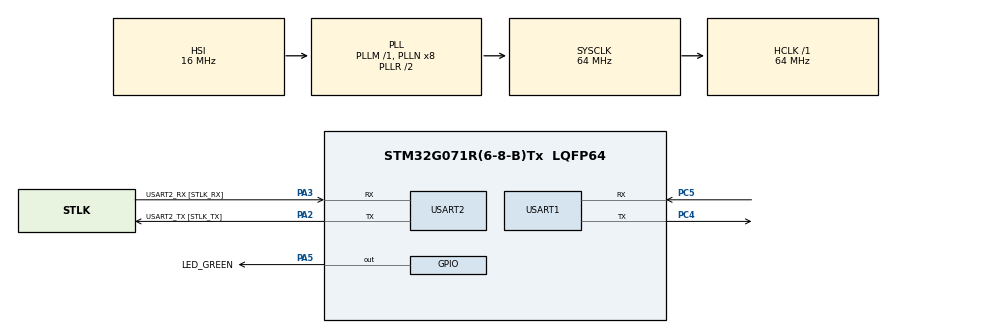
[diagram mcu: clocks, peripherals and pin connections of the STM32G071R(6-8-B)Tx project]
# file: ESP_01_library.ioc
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Mcu.Family=STM32G0
Mcu.Name=STM32G071R(6-8-B)Tx
Mcu.Package=LQFP64
NVIC.USART1_IRQn=true\:0\:0\:false\:false\:true\:true\:true
PA13.GPIO_Label=TMS
PA13.Mode=Serial_Wire
PA13.Signal=SYS_SWDIO
PA14-BOOT0.GPIO_Label=TCK
PA14-BOOT0.Mode=Serial_Wire
PA14-BOOT0.Signal=SYS_SWCLK
PA2.GPIO_Label=USART2_TX [STLK_TX]
PA2.GPIO_PuPd=GPIO_PULLUP
PA2.Mode=Asynchronous
PA2.Signal=USART2_TX
PA3.GPIO_Label=USART2_RX [STLK_RX]
PA3.GPIO_PuPd=GPIO_PULLUP
PA3.Mode=Asynchronous
PA3.Signal=USART2_RX
PA5.GPIO_Label=LED_GREEN
PA5.GPIO_Speed=GPIO_SPEED_FREQ_HIGH
PA5.Signal=GPIO_Output
PC13.Mode=SYS_WakeUp1
PC13.Signal=SYS_WKUP2
PC14-OSC32_IN\ (PC14).Mode=LSE-External-Oscillator
PC14-OSC32_IN\ (PC14).Signal=RCC_OSC32_IN
PC15-OSC32_OUT\ (PC15).Mode=LSE-External-Oscillator
PC15-OSC32_OUT\ (PC15).Signal=RCC_OSC32_OUT
PC4.Mode=Asynchronous
PC4.Signal=USART1_TX
PC5.Mode=Asynchronous
PC5.Signal=USART1_RX
PF0-OSC_IN\ (PF0).GPIO_Label=MCO
PF0-OSC_IN\ (PF0).Mode=HSE-External-Clock-Source
PF0-OSC_IN\ (PF0).Signal=RCC_OSC_IN
ProjectManager.HeapSize=0x200
ProjectManager.StackSize=0x400
ProjectManager.TargetToolchain=STM32CubeIDE
RCC.ADCFreq_Value=64000000
RCC.AHBFreq_Value=64000000
RCC.CortexFreq_Value=64000000
RCC.EXTERNAL_CLOCK_VALUE=12288000
RCC.HCLKFreq_Value=64000000
RCC.HSE_VALUE=8000000
RCC.HSI_VALUE=16000000
RCC.SYSCLKFreq_VALUE=64000000
RCC.SYSCLKSource=RCC_SYSCLKSOURCE_PLLCLK
RCC.VCOOutputFreq_Value=128000000
USART1.VirtualMode-Asynchronous=VM_ASYNC
USART2.VirtualMode-Asynchronous=VM_ASYNC
VP_SYS_VS_DBSignals.Mode=DisableDeadBatterySignals
board=NUCLEO-G071RB

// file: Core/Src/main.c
/* USER CODE BEGIN Header */
/**
  ******************************************************************************
  * @file           : main.c
  * @brief          : Main program body
  ******************************************************************************
  * @attention
  *
  * <h2><center>&copy; Copyright (c) 2023 STMicroelectronics.
  * All rights reserved.</center></h2>
  *
  * This software component is licensed by ST under BSD 3-Clause license,
  * the "License"; You may not use this file except in compliance with the
  * License. You may obtain a copy of the License at:
  *                        opensource.org/licenses/BSD-3-Clause
  *
  ******************************************************************************
  */
/* USER CODE END Header */
#include "main.h"

/* USER CODE BEGIN Includes */
#include "ESP_01.h"
/* USER CODE END Includes */

UART_HandleTypeDef huart1;
UART_HandleTypeDef huart2;

/* USER CODE BEGIN PV */
char buff[100]="\0";
uint8_t Rx;
extern TypedefFlag Flag;
/* USER CODE END PV */

void SystemClock_Config(void);
static void MX_GPIO_Init(void);
static void MX_USART2_UART_Init(void);
static void MX_USART1_UART_Init(void);

int main(void)
{

  /* MCU Configuration--------------------------------------------------------*/

  /* Reset of all peripherals, Initializes the Flash interface and the Systick. */
  HAL_Init();

  /* Configure the system clock */
  SystemClock_Config();

  /* Initialize all configured peripherals */
  MX_GPIO_Init();
  MX_USART2_UART_Init();
  MX_USART1_UART_Init();
  /* USER CODE BEGIN 2 */
  HAL_UART_Receive_IT(&huart1,&Rx,1);
  FUNC_ESP_RESET(Reset);

  //Transmit("AT+CWJAP=", huart)
  /* USER CODE END 2 */

  /* Infinite loop */
  /* USER CODE BEGIN WHILE */
  while (1)
  {
	  if(Flag.INIT)
	  {   HAL_Delay(1000);
		  FUNC_WIFI_CONECTAR("ClaroB550","santodomingo0901!");
		  if(!Flag.Server_conect)
		  {
			 FUNC_MQTT_CONECTAR_SERVIDOR("broker.mqttdashboard.com","Jose");
		  }
		  if(Flag.Server_conect)
		  {
			  FUNC_MQTT_SUBSCRIBIR("ESP-01");
			  Flag.INIT=0;
		  }
	  }

	  if(Flag.Server_conect)
	  {
		  FUNC_MQTT_PUBLICAR("KLK","Esp-01");
		  HAL_Delay(1000);

	  }
    /* USER CODE END WHILE */

  }
}

void SystemClock_Config(void)
{
  RCC_OscInitTypeDef RCC_OscInitStruct = {0};
  RCC_ClkInitTypeDef RCC_ClkInitStruct = {0};
  RCC_PeriphCLKInitTypeDef PeriphClkInit = {0};

  /** Configure the main internal regulator output voltage
  */
  HAL_PWREx_ControlVoltageScaling(PWR_REGULATOR_VOLTAGE_SCALE1);
  /** Initializes the RCC Oscillators according to the specified parameters
  * in the RCC_OscInitTypeDef structure.
  */
  RCC_OscInitStruct.OscillatorType = RCC_OSCILLATORTYPE_HSI;
  RCC_OscInitStruct.HSIState = RCC_HSI_ON;
  RCC_OscInitStruct.HSIDiv = RCC_HSI_DIV1;
  RCC_OscInitStruct.HSICalibrationValue = RCC_HSICALIBRATION_DEFAULT;
  RCC_OscInitStruct.PLL.PLLState = RCC_PLL_ON;
  RCC_OscInitStruct.PLL.PLLSource = RCC_PLLSOURCE_HSI;
  RCC_OscInitStruct.PLL.PLLM = RCC_PLLM_DIV1;
  RCC_OscInitStruct.PLL.PLLN = 8;
  RCC_OscInitStruct.PLL.PLLP = RCC_PLLP_DIV2;
  RCC_OscInitStruct.PLL.PLLQ = RCC_PLLQ_DIV2;
  RCC_OscInitStruct.PLL.PLLR = RCC_PLLR_DIV2;
  if (HAL_RCC_OscConfig(&RCC_OscInitStruct) != HAL_OK)
  {
    Error_Handler();
  }
  /** Initializes the CPU, AHB and APB buses clocks
  */
  RCC_ClkInitStruct.ClockType = RCC_CLOCKTYPE_HCLK|RCC_CLOCKTYPE_SYSCLK
                              |RCC_CLOCKTYPE_PCLK1;
  RCC_ClkInitStruct.SYSCLKSource = RCC_SYSCLKSOURCE_PLLCLK;
  RCC_ClkInitStruct.AHBCLKDivider = RCC_SYSCLK_DIV1;
  RCC_ClkInitStruct.APB1CLKDivider = RCC_HCLK_DIV1;

  if (HAL_RCC_ClockConfig(&RCC_ClkInitStruct, FLASH_LATENCY_2) != HAL_OK)
  {
    Error_Handler();
  }
  /** Initializes the peripherals clocks
  */
  PeriphClkInit.PeriphClockSelection = RCC_PERIPHCLK_USART1|RCC_PERIPHCLK_USART2;
  PeriphClkInit.Usart1ClockSelection = RCC_USART1CLKSOURCE_PCLK1;
  PeriphClkInit.Usart2ClockSelection = RCC_USART2CLKSOURCE_PCLK1;
  if (HAL_RCCEx_PeriphCLKConfig(&PeriphClkInit) != HAL_OK)
  {
    Error_Handler();
  }
}

static void MX_USART1_UART_Init(void)
{

  huart1.Instance = USART1;
  huart1.Init.BaudRate = 115200;
  huart1.Init.WordLength = UART_WORDLENGTH_8B;
  huart1.Init.StopBits = UART_STOPBITS_1;
  huart1.Init.Parity = UART_PARITY_NONE;
  huart1.Init.Mode = UART_MODE_TX_RX;
  huart1.Init.HwFlowCtl = UART_HWCONTROL_NONE;
  huart1.Init.OverSampling = UART_OVERSAMPLING_16;
  huart1.Init.OneBitSampling = UART_ONE_BIT_SAMPLE_DISABLE;
  huart1.Init.ClockPrescaler = UART_PRESCALER_DIV1;
  huart1.AdvancedInit.AdvFeatureInit = UART_ADVFEATURE_NO_INIT;
  if (HAL_UART_Init(&huart1) != HAL_OK)
  {
    Error_Handler();
  }
  if (HAL_UARTEx_SetTxFifoThreshold(&huart1, UART_TXFIFO_THRESHOLD_1_8) != HAL_OK)
  {
    Error_Handler();
  }
  if (HAL_UARTEx_SetRxFifoThreshold(&huart1, UART_RXFIFO_THRESHOLD_1_8) != HAL_OK)
  {
    Error_Handler();
  }
  if (HAL_UARTEx_DisableFifoMode(&huart1) != HAL_OK)
  {
    Error_Handler();
  }

}

static void MX_USART2_UART_Init(void)
{

  huart2.Instance = USART2;
  huart2.Init.BaudRate = 115200;
  huart2.Init.WordLength = UART_WORDLENGTH_8B;
  huart2.Init.StopBits = UART_STOPBITS_1;
  huart2.Init.Parity = UART_PARITY_NONE;
  huart2.Init.Mode = UART_MODE_TX_RX;
  huart2.Init.HwFlowCtl = UART_HWCONTROL_NONE;
  huart2.Init.OverSampling = UART_OVERSAMPLING_16;
  huart2.Init.OneBitSampling = UART_ONE_BIT_SAMPLE_DISABLE;
  huart2.Init.ClockPrescaler = UART_PRESCALER_DIV1;
  huart2.AdvancedInit.AdvFeatureInit = UART_ADVFEATURE_NO_INIT;
  if (HAL_UART_Init(&huart2) != HAL_OK)
  {
    Error_Handler();
  }
  if (HAL_UARTEx_SetTxFifoThreshold(&huart2, UART_TXFIFO_THRESHOLD_1_8) != HAL_OK)
  {
    Error_Handler();
  }
  if (HAL_UARTEx_SetRxFifoThreshold(&huart2, UART_RXFIFO_THRESHOLD_1_8) != HAL_OK)
  {
    Error_Handler();
  }
  if (HAL_UARTEx_DisableFifoMode(&huart2) != HAL_OK)
  {
    Error_Handler();
  }

}

static void MX_GPIO_Init(void)
{
  GPIO_InitTypeDef GPIO_InitStruct = {0};

  /* GPIO Ports Clock Enable */
  __HAL_RCC_GPIOC_CLK_ENABLE();
  __HAL_RCC_GPIOF_CLK_ENABLE();
  __HAL_RCC_GPIOA_CLK_ENABLE();

  /*Configure GPIO pin Output Level */
  HAL_GPIO_WritePin(LED_GREEN_GPIO_Port, LED_GREEN_Pin, GPIO_PIN_RESET);

  /*Configure GPIO pin : LED_GREEN_Pin */
  GPIO_InitStruct.Pin = LED_GREEN_Pin;
  GPIO_InitStruct.Mode = GPIO_MODE_OUTPUT_PP;
  GPIO_InitStruct.Pull = GPIO_NOPULL;
  GPIO_InitStruct.Speed = GPIO_SPEED_FREQ_HIGH;
  HAL_GPIO_Init(LED_GREEN_GPIO_Port, &GPIO_InitStruct);

}

/* USER CODE BEGIN 4 */
void HAL_UART_RxCpltCallback(UART_HandleTypeDef *huart)
{
	 static int i=0;
	 if(Rx=='\n')
	 {
		 buff[i]='\0';
		 Recibir(buff);
		 i=0;
	 }
	 else if(i<100)
	 {
		 buff[i]=Rx;
		 i++;
	 }
	 else
	 {
		 i=0;
	 }

	HAL_UART_Receive_IT(&huart1,&Rx,1);
}
/* USER CODE END 4 */

void Error_Handler(void)
{
  __disable_irq();
  while (1)
  {
  }
}

/************************ (C) COPYRIGHT STMicroelectronics *****END OF FILE****/
